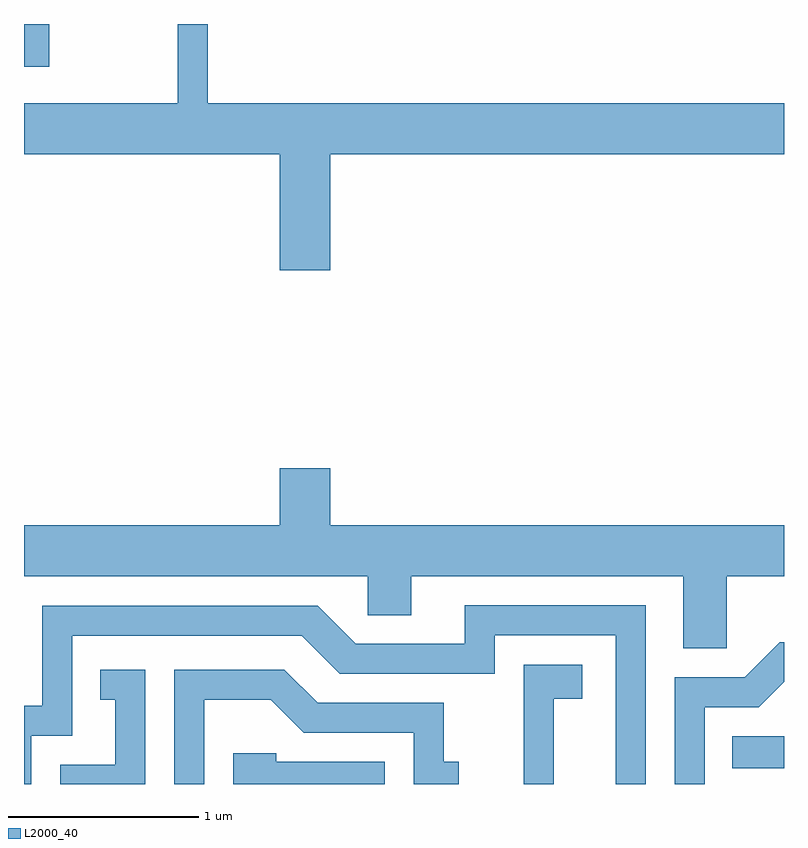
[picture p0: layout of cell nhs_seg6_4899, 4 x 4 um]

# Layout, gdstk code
import gdstk
lib = gdstk.Library(unit=1e-6, precision=1e-09)
def R(c, l, rs):  # rectangles x0, y0, x1, y1
    for r in rs: c.add(gdstk.rectangle(r[:2], r[2:], *l))
def P(c, l, *ps):  # polygons
    for p in ps: c.add(gdstk.Polygon(p, *l))
L2000_40 = (2000, 40)

nhs_seg6_4899 = lib.new_cell('nhs_seg6_4899')
R(nhs_seg6_4899, L2000_40, [(337.338,1662.246,337.611,1662.414), (333.611,1665.936,333.744,1666.162)])
P(nhs_seg6_4899, L2000_40, [(335.224,1665.476),(337.611,1665.476),(337.611,1665.744),(334.579,1665.744),(334.579,1666.162),(334.421,1666.162),(334.421,1665.744),(333.611,1665.744),(333.611,1665.476),(334.956,1665.476),(334.956,1664.866),(335.224,1664.866)],
  [(337.309,1663.256),(337.611,1663.256),(337.611,1663.524),(335.224,1663.524),(335.224,1663.824),(334.956,1663.824),(334.956,1663.524),(333.611,1663.524),(333.611,1663.256),(335.421,1663.256),(335.421,1663.051),(335.649,1663.051),(335.649,1663.256),(337.081,1663.256),(337.081,1662.876),(337.309,1662.876)],
  [(333.649,1662.416),(333.864,1662.416),(333.864,1662.941),(335.074,1662.941),(335.274,1662.741),(336.089,1662.741),(336.089,1662.946),(336.726,1662.946),(336.726,1662.162),(336.884,1662.162),(336.884,1663.104),(335.931,1663.104),(335.931,1662.899),(335.357,1662.899),(335.157,1663.099),(333.706,1663.099),(333.706,1662.574),(333.611,1662.574),(333.611,1662.162),(333.649,1662.162)],
  [(337.194,1662.566),(337.477,1662.566),(337.611,1662.7),(337.611,1662.909),(337.589,1662.909),(337.404,1662.724),(337.036,1662.724),(337.036,1662.162),(337.194,1662.162)],
  [(336.399,1662.611),(336.549,1662.611),(336.549,1662.789),(336.241,1662.789),(336.241,1662.162),(336.399,1662.162)],
  [(334.559,1662.606),(334.909,1662.606),(335.084,1662.431),(335.661,1662.431),(335.661,1662.162),(335.898,1662.162),(335.898,1662.279),(335.819,1662.279),(335.819,1662.589),(335.157,1662.589),(334.982,1662.764),(334.401,1662.764),(334.401,1662.162),(334.559,1662.162)],
  [(334.249,1662.764),(334.013,1662.764),(334.013,1662.606),(334.091,1662.606),(334.091,1662.264),(333.801,1662.264),(333.801,1662.162),(334.249,1662.162)],
  [(335.509,1662.279),(334.939,1662.279),(334.939,1662.324),(334.711,1662.324),(334.711,1662.162),(335.509,1662.162)])

lib.write_gds('nhs_seg6_4899.gds')
